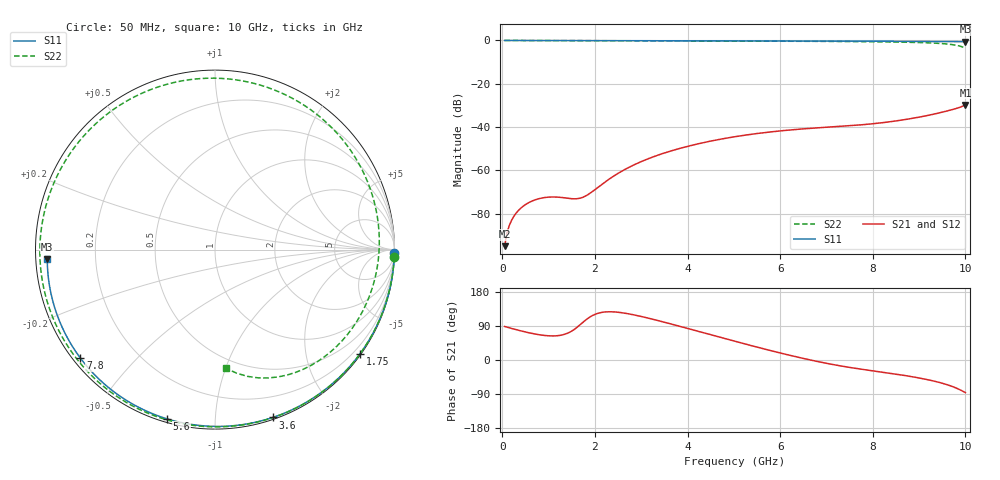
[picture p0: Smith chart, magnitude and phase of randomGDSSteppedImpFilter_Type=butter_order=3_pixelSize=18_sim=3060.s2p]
! freq	dB(S11)	phase(S11)	dB(S12)	phase(S12)
!  dB(S21)	phase(S21)	dB(S22)	phase(S22)
!S-par simulation data
#  GHz  S  DB  R 50
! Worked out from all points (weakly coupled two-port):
!   200 points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, 50 MHz to 10 GHz, reference 50 ohm
!   highest |S21| = -29.74 dB at 10 GHz (marker M1); lowest = -95.0 dB at 50 MHz (marker M2)
!   lowest |S11| = -0.6 dB at 10 GHz (marker M3), VSWR 30.34, Z = 1.65 - j1.46 ohm
!   |S11| at or under -10 dB: nowhere
!   |S22| runs from -3.6 to 0.0 dB; largest |S21 - S12| = 0
!   S11 on the Smith chart (normalised r, x): 50 MHz: open; 1.75 GHz: 0.03, -3.11; 3.6 GHz: 0.02, -1.40; 5.6 GHz: 0.02, -0.76; 7.8 GHz: 0.02, -0.35; 10 GHz: 0.03, -0.03
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0.05  -0.00 -1.0  -94.97 88.6  -94.97 88.6  -0.00 -2.4
0.3  -0.01 -6.2  -79.69 80.1  -79.69 80.1  -0.02 -14.1
0.55  -0.01 -11.4  -75.12 72.5  -75.12 72.5  -0.03 -25.7
0.85  -0.02 -17.5  -72.77 65.7  -72.77 65.7  -0.05 -39.5
1.3  -0.03 -26.7  -72.54 66.3  -72.54 66.3  -0.07 -59.5
1.75  -0.05 -35.7  -72.31 100.3  -72.31 100.3  -0.09 -78.7
2.5  -0.06 -50.4  -61.36 126.0  -61.36 126.0  -0.13 -108.7
3.4  -0.09 -67.3  -52.67 102.9  -52.67 102.9  -0.16 -142.2
3.6  -0.09 -71.0  -51.29 96.5  -51.29 96.5  -0.17 -149.5
4.35  -0.12 -84.4  -47.14 71.8  -47.14 71.8  -0.21 -176.3
5.05  -0.15 -96.5  -44.35 48.6  -44.35 48.6  -0.25 158.3
5.6  -0.17 -105.8  -42.71 30.9  -42.71 30.9  -0.29 137.5
6.2  -0.21 -115.6  -41.36 12.6  -41.36 12.6  -0.34 113.5
6.7  -0.24 -123.7  -40.50 -1.2  -40.50 -1.2  -0.39 92.2
7.25  -0.28 -132.5  -39.73 -14.4  -39.73 -14.4  -0.46 67.4
7.8  -0.33 -141.2  -38.86 -25.1  -38.86 -25.1  -0.55 41.3
8.35  -0.38 -149.9  -37.59 -34.6  -37.59 -34.6  -0.68 14.0
8.8  -0.42 -157.1  -36.16 -43.1  -36.16 -43.1  -0.85 -9.0
9.2  -0.47 -163.5  -34.56 -52.3  -34.56 -52.3  -1.10 -30.1
9.7  -0.53 -171.7  -32.02 -69.1  -32.02 -69.1  -1.87 -60.1
9.85  -0.55 -174.1  -31.07 -76.6  -31.07 -76.6  -2.45 -71.3
10  -0.57 -176.6  -29.74 -86.0  -29.74 -86.0  -3.58 -84.9
